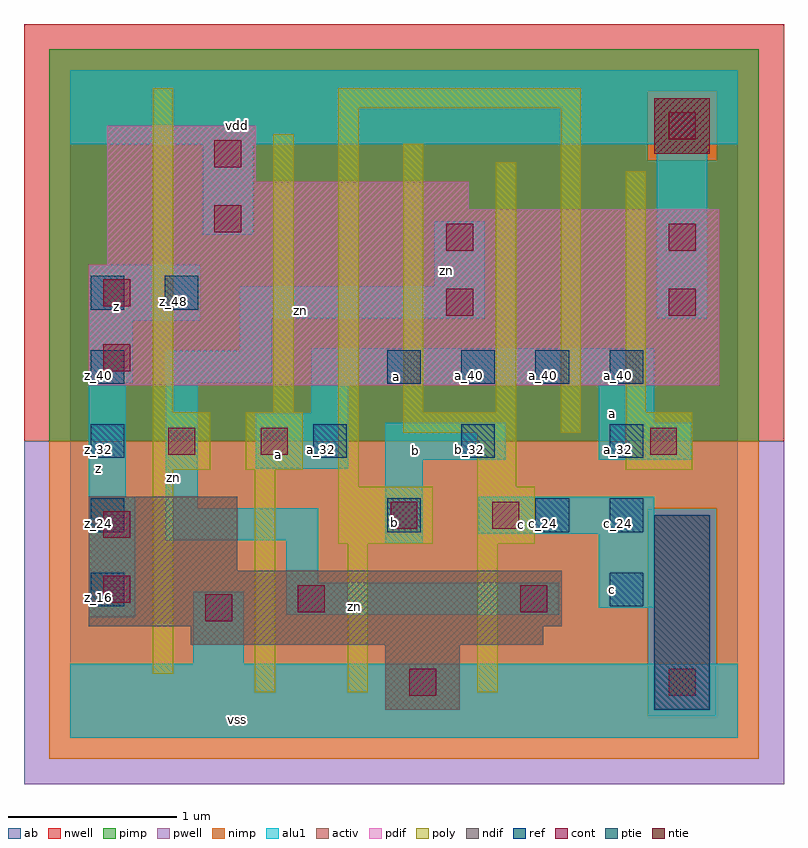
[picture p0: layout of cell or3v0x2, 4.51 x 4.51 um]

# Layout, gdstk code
import gdstk
lib = gdstk.Library(unit=1e-6, precision=2.5e-09)
def R(c, l, rs):  # rectangles x0, y0, x1, y1
    for r in rs: c.add(gdstk.rectangle(r[:2], r[2:], *l))
def A(c, l, x, y, w, h, nx, ny, dx, dy):  # array of equal rectangles
    R(c, l, [(x+i*dx, y+j*dy, x+i*dx+w, y+j*dy+h) for i in range(nx) for j in range(ny)])
ndif = (3, 0)
pdif = (4, 0)
ntie = (5, 0)
ptie = (6, 0)
ref = (24, 0)
cont = (25, 0)
pwell = (41, 0)
nwell = (42, 0)
activ = (43, 0)
pimp = (44, 0)
nimp = (45, 0)
poly = (46, 0)
alu1 = (49, 0)
ab = (63, 0)

or3v0x2 = lib.new_cell('or3v0x2')
R(or3v0x2, ndif, [(1.87,0.165,2.31,0.55), (0.715,0.55,2.805,0.66), (0.11,0.66,2.915,0.99), (0.11,0.99,0.99,1.43)])
R(or3v0x2, pdif, [(0.11,2.09,3.85,2.805), (0.22,2.805,3.85,3.135), (0.22,3.135,2.365,3.3), (0.22,3.3,1.1,3.63)])
R(or3v0x2, ntie, [(3.465,3.465,3.795,3.795)])
R(or3v0x2, ptie, [(3.465,0.165,3.795,1.32)])
A(or3v0x2, ref, 0.12, 0.78, 0.2, 0.2, 1, 5, 0, 0.44)
A(or3v0x2, ref, 1.44, 1.66, 0.2, 0.2, 3, 1, 0.88, 0)
A(or3v0x2, ref, 1.88, 2.1, 0.2, 0.2, 4, 1, 0.44, 0)
R(or3v0x2, ref, [(3.2,0.78,3.4,0.98), (1.88,1.22,2.08,1.42), (2.76,1.22,2.96,1.42), (3.2,1.22,3.4,1.42), (0.56,2.54,0.76,2.74)])
R(or3v0x2, cont, [(2.01,0.25,2.17,0.41), (3.55,0.25,3.71,0.41), (0.8,0.69,0.96,0.85), (1.35,0.745,1.51,0.905), (2.67,0.745,2.83,0.905), (0.195,0.8,0.355,0.96), (0.195,1.185,0.355,1.345), (1.9,1.24,2.06,1.4), (2.505,1.24,2.665,1.4), (0.58,1.68,0.74,1.84), (1.13,1.68,1.29,1.84), (3.44,1.68,3.6,1.84), (0.195,2.175,0.355,2.335), (2.23,2.505,2.39,2.665), (3.55,2.505,3.71,2.665), (0.195,2.56,0.355,2.72), (2.23,2.89,2.39,3.05), (3.55,2.89,3.71,3.05), (0.855,3,1.015,3.16), (0.855,3.385,1.015,3.545), (3.55,3.55,3.71,3.71)])
R(or3v0x2, pwell, [(-0.275,-0.275,4.235,1.76)])
R(or3v0x2, nwell, [(-0.275,1.76,4.235,4.235)])
R(or3v0x2, activ, [(1.87,0.165,2.31,0.55), (3.465,0.165,3.795,1.32), (0.715,0.55,2.805,0.66), (0.11,0.66,2.915,0.99), (0.11,0.99,0.99,1.43), (0.11,2.09,3.85,2.805), (0.22,2.805,3.85,3.135), (0.22,3.135,2.365,3.3), (0.22,3.3,1.1,3.63), (3.465,3.465,3.795,3.795)])
R(or3v0x2, pimp, [(3.425,0.125,3.835,1.36), (-0.125,1.76,4.085,3.425), (-0.125,3.425,3.425,3.835), (3.835,3.425,4.085,3.835), (-0.125,3.835,4.085,4.085)])
R(or3v0x2, nimp, [(-0.125,-0.125,4.085,0.125), (-0.125,0.125,3.425,1.36), (3.835,0.125,4.085,1.36), (-0.125,1.36,4.085,1.76), (3.425,3.425,3.835,3.835)])
R(or3v0x2, poly, [(1.095,0.27,1.215,1.59), (1.645,0.27,1.765,1.15), (2.415,0.27,2.535,1.15), (0.49,0.38,0.61,1.59), (1.59,1.15,2.15,1.49), (2.415,1.15,2.755,1.49), (1.59,1.49,1.71,3.735), (2.415,1.49,2.645,1.81), (0.49,1.59,0.83,1.93), (1.04,1.59,1.38,1.93), (3.295,1.59,3.69,1.93), (1.975,1.81,2.645,1.93), (2.91,1.81,3.03,3.735), (0.49,1.93,0.61,3.855), (1.205,1.93,1.325,3.58), (1.975,1.93,2.095,3.525), (2.525,1.93,2.645,3.415), (3.295,1.93,3.415,3.36), (1.59,3.735,3.03,3.855)])
R(or3v0x2, alu1, [(0,0,3.96,0.44), (0.73,0.44,1.03,0.865), (0.11,0.715,0.385,1.43), (1.28,0.73,2.9,0.92), (3.135,0.77,3.465,1.21), (1.28,0.92,1.47,1.17), (1.87,1.155,2.09,1.65), (0.565,1.17,1.47,1.36), (2.42,1.21,3.465,1.43), (0.565,1.36,0.755,2.105), (0.11,1.43,0.33,2.105), (1.1,1.595,1.65,1.925), (1.87,1.65,2.585,1.87), (3.135,1.65,3.685,1.87), (3.135,1.87,3.465,2.09), (1.43,1.925,1.65,2.09), (1.43,2.09,3.465,2.31), (0.11,2.105,0.37,2.475), (0.565,2.105,1.195,2.295), (1.005,2.295,1.195,2.49), (0.11,2.475,0.77,2.805), (1.005,2.49,2.46,2.68), (3.48,2.49,3.78,3.52), (2.16,2.68,2.46,3.065), (0.785,2.985,1.085,3.52), (0,3.52,3.96,3.96)])
R(or3v0x2, ab, [(0,0,3.96,3.96)])
or3v0x2.add(gdstk.Label('vss', (0.99,0.11), layer=49, texttype=0))
or3v0x2.add(gdstk.Label('c', (3.2175,0.88), layer=49, texttype=0))
or3v0x2.add(gdstk.Label('zn', (1.685,0.7775), layer=49, texttype=0))
or3v0x2.add(gdstk.Label('c', (2.68,1.265), layer=49, texttype=0))
or3v0x2.add(gdstk.Label('b', (1.925,1.2775), layer=49, texttype=0))
or3v0x2.add(gdstk.Label('b', (2.0475,1.705), layer=49, texttype=0))
or3v0x2.add(gdstk.Label('a', (3.2175,1.925), layer=49, texttype=0))
or3v0x2.add(gdstk.Label('a', (1.2375,1.6775), layer=49, texttype=0))
or3v0x2.add(gdstk.Label('a', (1.9375,2.145), layer=49, texttype=0))
or3v0x2.add(gdstk.Label('zn', (0.6125,1.545), layer=49, texttype=0))
or3v0x2.add(gdstk.Label('z', (0.165,1.5975), layer=49, texttype=0))
or3v0x2.add(gdstk.Label('zn', (1.3675,2.5375), layer=49, texttype=0))
or3v0x2.add(gdstk.Label('zn', (2.235,2.775), layer=49, texttype=0))
or3v0x2.add(gdstk.Label('z', (0.275,2.5575), layer=49, texttype=0))
or3v0x2.add(gdstk.Label('vdd', (0.99,3.63), layer=49, texttype=0))
or3v0x2.add(gdstk.Label('z_48', (0.61,2.59), layer=24, texttype=0))
or3v0x2.add(gdstk.Label('a_32', (1.49,1.71), layer=24, texttype=0))
or3v0x2.add(gdstk.Label('b_24', (1.93,1.27), layer=24, texttype=0))
or3v0x2.add(gdstk.Label('a_40', (1.93,2.15), layer=24, texttype=0))
or3v0x2.add(gdstk.Label('z_16', (0.17,0.83), layer=24, texttype=0))
or3v0x2.add(gdstk.Label('z_24', (0.17,1.27), layer=24, texttype=0))
or3v0x2.add(gdstk.Label('z_32', (0.17,1.71), layer=24, texttype=0))
or3v0x2.add(gdstk.Label('z_40', (0.17,2.15), layer=24, texttype=0))
or3v0x2.add(gdstk.Label('z_48', (0.17,2.59), layer=24, texttype=0))
or3v0x2.add(gdstk.Label('b_32', (2.37,1.71), layer=24, texttype=0))
or3v0x2.add(gdstk.Label('a_40', (2.37,2.15), layer=24, texttype=0))
or3v0x2.add(gdstk.Label('c_24', (2.81,1.27), layer=24, texttype=0))
or3v0x2.add(gdstk.Label('a_40', (2.81,2.15), layer=24, texttype=0))
or3v0x2.add(gdstk.Label('c_16', (3.25,0.83), layer=24, texttype=0))
or3v0x2.add(gdstk.Label('c_24', (3.25,1.27), layer=24, texttype=0))
or3v0x2.add(gdstk.Label('a_32', (3.25,1.71), layer=24, texttype=0))
or3v0x2.add(gdstk.Label('a_40', (3.25,2.15), layer=24, texttype=0))

lib.write_gds('or3v0x2.gds')
